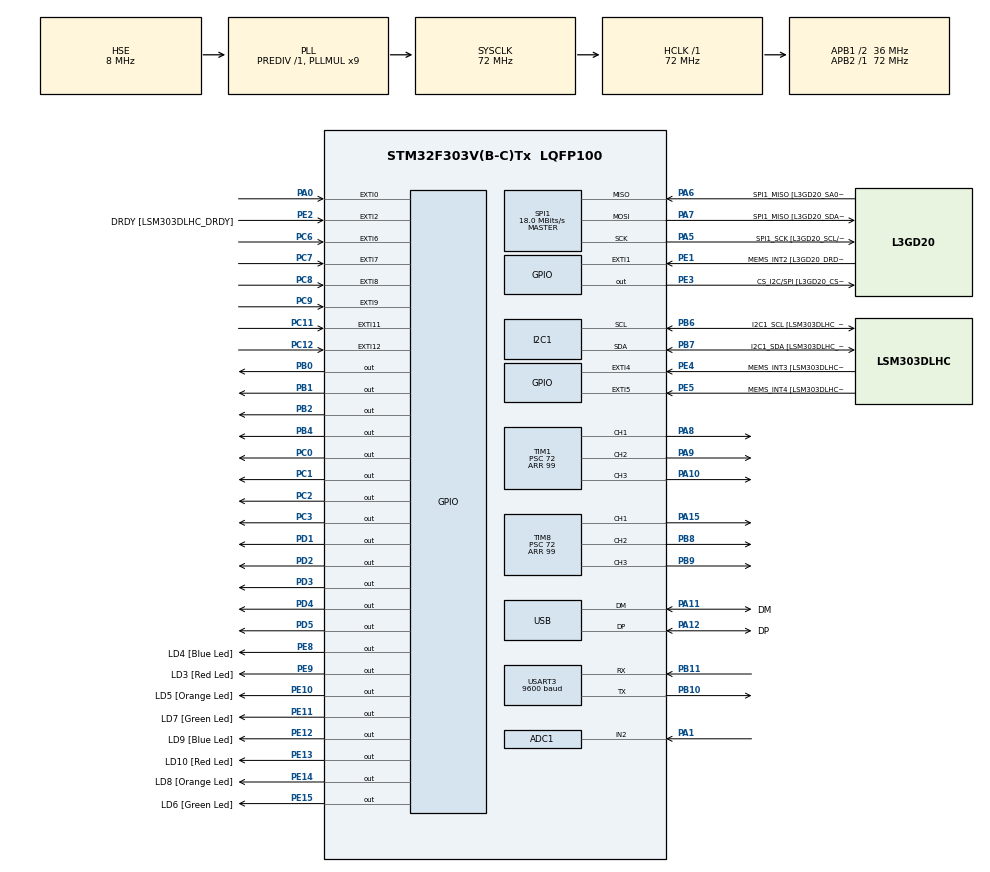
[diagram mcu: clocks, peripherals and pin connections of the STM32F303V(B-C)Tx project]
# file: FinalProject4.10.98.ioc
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ADC1.Channel-0\#ChannelRegularConversion=ADC_CHANNEL_2
ADC1.ClockPrescaler=ADC_CLOCK_ASYNC_DIV1
ADC1.ContinuousConvMode=DISABLE
ADC1.DMAContinuousRequests=DISABLE
ADC1.DataAlign=ADC_DATAALIGN_RIGHT
ADC1.DiscontinuousConvMode=DISABLE
ADC1.EOCSelection=ADC_EOC_SINGLE_CONV
ADC1.EnableAnalogWatchDog1=false
ADC1.EnableAnalogWatchDog2=false
ADC1.EnableAnalogWatchDog3=false
ADC1.EnableInjectedConversion=ENABLE
ADC1.EnableRegularConversion=ENABLE
ADC1.ExternalTrigConv=ADC_SOFTWARE_START
ADC1.ExternalTrigConvEdge=ADC_EXTERNALTRIGCONVEDGE_NONE
ADC1.InjNumberOfConversion=0
ADC1.LowPowerAutoWait=DISABLE
ADC1.NbrOfConversion=1
ADC1.NbrOfConversionFlag=1
ADC1.Offset-0\#ChannelRegularConversion=0
ADC1.OffsetNumber-0\#ChannelRegularConversion=ADC_OFFSET_NONE
ADC1.Overrun=ADC_OVR_DATA_OVERWRITTEN
ADC1.Rank-0\#ChannelRegularConversion=1
ADC1.Resolution=ADC_RESOLUTION_6B
ADC1.SamplingTime-0\#ChannelRegularConversion=ADC_SAMPLETIME_601CYCLES_5
ADC1.ScanConvMode=ADC_SCAN_DISABLE
ADC1.master=1
I2C1.Timing-I2C=0x2000090E
Mcu.Family=STM32F3
Mcu.Name=STM32F303V(B-C)Tx
Mcu.Package=LQFP100
NVIC.ADC1_2_IRQn=true\:3\:0\:true\:false\:true\:true
NVIC.EXTI0_IRQn=true\:1\:0\:true\:false\:true\:true
NVIC.EXTI15_10_IRQn=true\:1\:0\:true\:false\:true\:true
NVIC.EXTI9_5_IRQn=true\:1\:0\:true\:false\:true\:true
NVIC.PriorityGroup=NVIC_PRIORITYGROUP_2
NVIC.TIM2_IRQn=true\:2\:0\:true\:false\:true\:true
NVIC.TIM3_IRQn=true\:2\:0\:true\:false\:true\:true
NVIC.USART3_IRQn=true\:2\:0\:true\:false\:true\:true
PA0.GPIO_PuPd=GPIO_PULLDOWN
PA0.Signal=GPXTI0
PA1.Mode=IN2-Single-Ended
PA1.Signal=ADC1_IN2
PA10.Signal=S_TIM1_CH3
PA11.GPIO_Label=DM
PA11.Mode=Device
PA11.Signal=USB_DM
PA12.GPIO_Label=DP
PA12.Mode=Device
PA12.Signal=USB_DP
PA13.GPIO_Label=SWDIO
PA13.Mode=Serial_Wire
PA13.Signal=SYS_JTMS-SWDIO
PA14.GPIO_Label=SWCLK
PA14.Mode=Serial_Wire
PA14.Signal=SYS_JTCK-SWCLK
PA15.Signal=S_TIM8_CH1
PA5.GPIO_Label=SPI1_SCK [L3GD20_SCL/SPC]
PA5.Mode=Full_Duplex_Master
PA5.Signal=SPI1_SCK
PA6.GPIO_Label=SPI1_MISO [L3GD20_SA0/SDO]
PA6.Mode=Full_Duplex_Master
PA6.Signal=SPI1_MISO
PA7.GPIO_Label=SPI1_MISO [L3GD20_SDA/SDI/SDO]
PA7.Mode=Full_Duplex_Master
PA7.Signal=SPI1_MOSI
PA8.Signal=S_TIM1_CH1
PA9.Signal=S_TIM1_CH2
PB0.Signal=GPIO_Output
PB1.Signal=GPIO_Output
PB10.Mode=Asynchronous
PB10.Signal=USART3_TX
PB11.Mode=Asynchronous
PB11.Signal=USART3_RX
PB2.Signal=GPIO_Output
PB3.GPIO_Label=SWO
PB3.Signal=SYS_JTDO-TRACESWO
PB4.Signal=GPIO_Output
PB6.GPIO_Label=I2C1_SCL [LSM303DLHC_SCL]
PB6.Mode=I2C
PB6.Signal=I2C1_SCL
PB7.GPIO_Label=I2C1_SDA [LSM303DLHC_SDA]
PB7.Mode=I2C
PB7.Signal=I2C1_SDA
PB8.Signal=S_TIM8_CH2
PB9.Signal=S_TIM8_CH3
PC0.Signal=GPIO_Output
PC1.Signal=GPIO_Output
PC11.GPIO_PuPd=GPIO_PULLDOWN
PC11.Signal=GPXTI11
PC12.GPIO_PuPd=GPIO_PULLDOWN
PC12.Signal=GPXTI12
PC14-OSC32_IN.GPIO_Label=OSC32_IN
PC14-OSC32_IN.Signal=RCC_OSC32_IN
PC15-OSC32_OUT.GPIO_Label=OSC32_OUT
PC15-OSC32_OUT.Signal=RCC_OSC32_OUT
PC2.Signal=GPIO_Output
PC3.Signal=GPIO_Output
PC6.GPIO_PuPd=GPIO_PULLDOWN
PC6.Signal=GPXTI6
PC7.GPIO_PuPd=GPIO_PULLDOWN
PC7.Signal=GPXTI7
PC8.GPIO_PuPd=GPIO_PULLDOWN
PC8.Signal=GPXTI8
PC9.GPIO_PuPd=GPIO_PULLDOWN
PC9.Signal=GPXTI9
PD1.Signal=GPIO_Output
PD2.Signal=GPIO_Output
PD3.Signal=GPIO_Output
PD4.Signal=GPIO_Output
PD5.Signal=GPIO_Output
PE1.GPIO_Label=MEMS_INT2 [L3GD20_DRDY/INT2]
PE1.GPIO_ModeDefaultEXTI=GPIO_MODE_EVT_RISING
PE1.Signal=GPXTI1
PE10.GPIO_Label=LD5 [Orange Led]
PE10.Signal=GPIO_Output
PE11.GPIO_Label=LD7 [Green Led]
PE11.Signal=GPIO_Output
PE12.GPIO_Label=LD9 [Blue Led]
PE12.Signal=GPIO_Output
PE13.GPIO_Label=LD10 [Red Led]
PE13.Signal=GPIO_Output
PE14.GPIO_Label=LD8 [Orange Led]
PE14.Signal=GPIO_Output
PE15.GPIO_Label=LD6 [Green Led]
PE15.Signal=GPIO_Output
PE2.GPIO_Label=DRDY [LSM303DLHC_DRDY]
PE2.GPIO_ModeDefaultEXTI=GPIO_MODE_EVT_RISING
PE2.Signal=GPXTI2
PE3.GPIO_Label=CS_I2C/SPI [L3GD20_CS_I2C/SPI]
PE3.Signal=GPIO_Output
PE4.GPIO_Label=MEMS_INT3 [LSM303DLHC_INT1]
PE4.GPIO_ModeDefaultEXTI=GPIO_MODE_EVT_RISING
PE4.Signal=GPXTI4
PE5.GPIO_Label=MEMS_INT4 [LSM303DLHC_INT2]
PE5.GPIO_ModeDefaultEXTI=GPIO_MODE_EVT_RISING
PE5.Signal=GPXTI5
PE8.GPIO_Label=LD4 [Blue Led]
PE8.Signal=GPIO_Output
PE9.GPIO_Label=LD3 [Red Led]
PE9.Signal=GPIO_Output
PF0-OSC_IN.GPIO_Label=OSC_IN
PF0-OSC_IN.Mode=HSE-External-Clock-Source
PF0-OSC_IN.Signal=RCC_OSC_IN
PF1-OSC_OUT.GPIO_Label=OSC_OUT
PF1-OSC_OUT.Signal=RCC_OSC_OUT
ProjectManager.HeapSize=0x200
ProjectManager.StackSize=0x400
ProjectManager.TargetToolchain=MDK-ARM V5
RCC.AHBFreq_Value=72000000
RCC.APB1CLKDivider=RCC_HCLK_DIV2
RCC.APB1Freq_Value=36000000
RCC.APB1TimFreq_Value=72000000
RCC.APB2Freq_Value=72000000
RCC.APB2TimFreq_Value=72000000
RCC.CortexFreq_Value=72000000
RCC.HCLKFreq_Value=72000000
RCC.HSE_VALUE=8000000
RCC.HSI_VALUE=8000000
RCC.LSE_VALUE=32768
RCC.PLLMUL=RCC_PLL_MUL9
RCC.PRESCALERUSB=RCC_USBCLKSOURCE_PLL_DIV1_5
RCC.SYSCLKFreq_VALUE=72000000
RCC.SYSCLKSourceVirtual=RCC_SYSCLKSOURCE_PLLCLK
RCC.USBFreq_Value=48000000
SH.S_TIM1_CH1.0=TIM1_CH1,PWM Generation1 CH1
SH.S_TIM1_CH2.0=TIM1_CH2,PWM Generation2 CH2
SH.S_TIM1_CH3.0=TIM1_CH3,PWM Generation3 CH3
SH.S_TIM8_CH1.0=TIM8_CH1,PWM Generation1 CH1
SH.S_TIM8_CH2.0=TIM8_CH2,PWM Generation2 CH2
SH.S_TIM8_CH3.0=TIM8_CH3,PWM Generation3 CH3
SPI1.BaudRatePrescaler=SPI_BAUDRATEPRESCALER_4
SPI1.BaudRatePrescaler-Full_Duplex_Master=SPI_BAUDRATEPRESCALER_2
SPI1.CalculateBaudRate=18.0 MBits/s
SPI1.CalculateBaudRate-Full_Duplex_Master=24.0 MBits/s
SPI1.Direction=SPI_DIRECTION_2LINES
SPI1.Mode=SPI_MODE_MASTER
SPI1.Mode-Full_Duplex_Master=SPI_MODE_MASTER
SPI1.VirtualType=VM_MASTER
TIM1.Channel-PWM\ Generation1\ CH1=TIM_CHANNEL_1
TIM1.Channel-PWM\ Generation2\ CH2=TIM_CHANNEL_2
TIM1.Channel-PWM\ Generation3\ CH3=TIM_CHANNEL_3
TIM1.Period=99
TIM1.Prescaler=72
TIM2.Period=600
TIM2.Prescaler=60
TIM3.Period=1200
TIM3.Prescaler=1200
TIM8.Channel-PWM\ Generation1\ CH1=TIM_CHANNEL_1
TIM8.Channel-PWM\ Generation2\ CH2=TIM_CHANNEL_2
TIM8.Channel-PWM\ Generation3\ CH3=TIM_CHANNEL_3
TIM8.Period=99
TIM8.Prescaler=72
USART3.BaudRate=9600
USART3.VirtualMode-Asynchronous=VM_ASYNC
VP_TIM1_VS_ClockSourceINT.Mode=Internal
VP_TIM2_VS_ClockSourceINT.Mode=Internal
VP_TIM3_VS_ClockSourceINT.Mode=Internal
VP_TIM8_VS_ClockSourceINT.Mode=Internal
board=STM32F3DISCOVERY

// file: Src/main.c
/**
  ******************************************************************************
  * @file           : main.c
  * @brief          : Main program body
  ******************************************************************************
  ** This notice applies to any and all portions of this file
  * that are not between comment pairs USER CODE BEGIN and
  * USER CODE END. Other portions of this file, whether
  * inserted by the user or by software development tools
  * are owned by their respective copyright owners.
  *
  * COPYRIGHT(c) 2020 STMicroelectronics
  *
  * Redistribution and use in source and binary forms, with or without modification,
  * are permitted provided that the following conditions are met:
  *   1. Redistributions of source code must retain the above copyright notice,
  *      this list of conditions and the following disclaimer.
  *   2. Redistributions in binary form must reproduce the above copyright notice,
  *      this list of conditions and the following disclaimer in the documentation
  *      and/or other materials provided with the distribution.
  *   3. Neither the name of STMicroelectronics nor the names of its contributors
  *      may be used to endorse or promote products derived from this software
  *      without specific prior written permission.
  *
  * THIS SOFTWARE IS PROVIDED BY THE COPYRIGHT HOLDERS AND CONTRIBUTORS "AS IS"
  * AND ANY EXPRESS OR IMPLIED WARRANTIES, INCLUDING, BUT NOT LIMITED TO, THE
  * IMPLIED WARRANTIES OF MERCHANTABILITY AND FITNESS FOR A PARTICULAR PURPOSE ARE
  * DISCLAIMED. IN NO EVENT SHALL THE COPYRIGHT HOLDER OR CONTRIBUTORS BE LIABLE
  * FOR ANY DIRECT, INDIRECT, INCIDENTAL, SPECIAL, EXEMPLARY, OR CONSEQUENTIAL
  * DAMAGES (INCLUDING, BUT NOT LIMITED TO, PROCUREMENT OF SUBSTITUTE GOODS OR
  * SERVICES; LOSS OF USE, DATA, OR PROFITS; OR BUSINESS INTERRUPTION) HOWEVER
  * CAUSED AND ON ANY THEORY OF LIABILITY, WHETHER IN CONTRACT, STRICT LIABILITY,
  * OR TORT (INCLUDING NEGLIGENCE OR OTHERWISE) ARISING IN ANY WAY OUT OF THE USE
  * OF THIS SOFTWARE, EVEN IF ADVISED OF THE POSSIBILITY OF SUCH DAMAGE.
  *
  ******************************************************************************
  */
#include "main.h"
#include "stm32f3xx_hal.h"

/* USER CODE BEGIN Includes */
#include "LiquidCrystal.h"
#include "stdlib.h"
#include "stdio.h"
#include <string.h>
/* USER CODE END Includes */

ADC_HandleTypeDef hadc1;

I2C_HandleTypeDef hi2c1;

SPI_HandleTypeDef hspi1;

TIM_HandleTypeDef htim1;
TIM_HandleTypeDef htim2;
TIM_HandleTypeDef htim3;
TIM_HandleTypeDef htim8;

UART_HandleTypeDef huart3;

PCD_HandleTypeDef hpcd_USB_FS;

/* USER CODE BEGIN PV */
/* Private variables ---------------------------------------------------------*/
	typedef unsigned char byte;
//	/////////////////////////////////////////////
	byte airplanes[] = {
	0x00,
	0x00,
	0x04,
	0x12,
	0x0F,
	0x12,
	0x04,
	0x00
};
	byte barrier11[] = {
	0x00,
	0x00,
	0x1F,
	0x11,
	0x1F,
	0x11,
	0x1F,
	0x00
};
	byte barrier22[] = {
	0x00,
	0x00,
	0x1F,
	0x1F,
	0x1F,
	0x1F,
	0x1F,
	0x00
};
	byte fuel_source[] = {
	0x00,
	0x04,
	0x0A,
	0x15,
	0x0A,
	0x04,
	0x00,
	0x00
};

//	byte filled[] = {
//	0x1F,
//	0x1F,
//	0x1F,
//	0x1F,
//	0x1F,
//	0x1F,
//	0x1F,
//	0x1F
//};
//
//	byte down_square[] = {
//	0x00,
//	0x00,
//	0x00,
//	0x00,
//	0x1F,
//	0x1F,
//	0x1F,
//	0x1F
//};
//
//	byte up_square [] = {
//	0x1F,
//	0x1F,
//	0x1F,
//	0x1F,
//	0x00,
//	0x00,
//	0x00,
//	0x00
//	};
//
//	byte trapeze[] = {
//	0x01,
//	0x03,
//	0x07,
//	0x0F,
//	0x1F,
//	0x1F,
//	0x1F,
//	0x1F};

	int adc_counter = 0;
	int speedSum = 0;

//	byte up[] = {0x00,0x00,0x04,0x0A,0x11,0x00,0x00,0x00};//z add
//	byte down[] = {0x00,0x00,0x11,0x0A,0x04,0x00,0x00,0x00};//z add
	/////////////////////////////////////////////
	byte selected[]= {0x00,0x00,0x04,0x02,0x1F,0x02,0x04,0x00}; //selected & bonus

	////////////////////////////////////////////////////////////////////////////////important
	char idchar;
	int test=0;
	int flagID=0;
	char idstr[20]="";
	int idcurser=5;
	int step=0;
	int speed=60;
	int needClear=0;
	int map[20][4] = {0}; //"0" shows empty, "1, 2, 3" shows a barrier,
	//and "-1, -2, -3, -4" shoes an enenmy, "-5" for cursor, "10" for bonus

	int option; // "0" for NEW GAME, "1" for LOAD GAME, "2" for ABOUT

	int mode; //"-1" for Showing "Alien Fighters", "0" for Showing MENU, "1" for before starting GAME,
	//"2" during the GAME, and "3" About, "4" for game over, "5" for winner , "6" load game,"7" store game

	char strvol[20];
	int time_counter = 0;
	int time = 0;

	int direction = -1;

	typedef struct barrierrs {
	int timeToBirth;
  int type;
	int x, y;
	int isExist;
} barriers;

	typedef struct airplane{
  int fuel;
  int planeSpeed;
	int x, y;
	int accident;
} airplane;

	typedef struct source_fuel{
  int value;
	int x, y;
	int timeTobBirth;
	int isExist;
} source_fuel;

	int barriers1[5]={8,6,4,2,0} ;
	int barriers2[5]={0,2,4,6,8};
	int source_fuel_num[5] = {5,3,2,1,0};
	airplane plane1;

	barriers brr[5][8];
	source_fuel fuel;

	int num_step=8;
	int  total_step=5;
	int counterMode2=0;
	int length=20;
	int score = 0;

	int max_speed_step[]={90,200,300,400,500};
	int max_time_step[]={100,80,60,40,20};	///using in calculate speed

	////////////////////////////////////////////////////////////////////////////////
  ///////////////////////////OUR METHODS/////////////////////////////////////////
//	void effects(){
//		clear();
//		for(int i=0;i<20;i++){
//			for(int j=0;j<4;j++){
//			setCursor(i,j);
//			write(7);
//			}
//		}
//		HAL_Delay(1500);
//		for(int i=6;i<12;i++){
//			for(int j=0;j<4;j++){
//			setCursor(i,j);
//			 print(" ");
//				if((i==7 || i==11) && (j==0 || j==3)){
//					setCursor(i,j);
//					write(7);
//				}
//			}
//		}
//		HAL_Delay(1500);
//		for(int i=1;i<17;i++){
//			for(int j=0;j<4;j++){
//			setCursor(i,j);
//			 print(" ");
//				if((i==1 || i==17) && (j==0 || j==3)){
//					setCursor(i,j);
//					write(7);
//				}
//			}
//		}
//		HAL_Delay(1500);
//		clear();
//		//3
//		for(int i=8;i<12;i++){
//			for(int j=0;j<4;j++){
//			setCursor(i,j);
//			 print(" ");
//				if((j==0 || j==3)){
//					setCursor(i,j);
//					write(7);
//				}
//				else if(j==1){
//					setCursor(i,j);
//					write(8);
//				}
//				else {
//					setCursor(i,j);
//					write(9);
//				}
//			}
//		}
//		setCursor(13,1);
//		write(7);
//		setCursor(13,2);
//		write(7);
//		//3
//		HAL_Delay(1500);
//		clear();
//		//2
//		for(int i=8;i<10;i++){
//			for(int j=0;j<4;j++){
//			setCursor(i,j);
//			 print(" ");
//				if((j==0 || j==3)){
//					setCursor(i,j);
//					write(7);
//				}
//				else if(j==1){
//					setCursor(i,j);
//					write(8);
//				}
//				else {
//					setCursor(i,j);
//					write(9);
//				}
//			}
//		}
//		setCursor(7,3);
//		write(7);
//		setCursor(11,3);
//		write(8);
//		setCursor(11,0);
//		write(7);
//		setCursor(7,0);
//		write(9);
//		setCursor(7,1);
//		write(7);
//		setCursor(11,2);
//		write(7);
//		//2
//		HAL_Delay(1500);
//		//1
//		clear();
//		setCursor(8,0);
//		write(6);
//		setCursor(9,0);
//		write(7);
//		setCursor(9,1);
//		write(7);
//		setCursor(9,2);
//		write(7);
//		setCursor(9,3);
//		write(7);
//		setCursor(7,3);
//		write(7);
//		setCursor(8,3);
//		write(7);
//		setCursor(10,3);
//		write(7);
//		setCursor(11,3);
//		write(7);
//		//1
//		HAL_Delay(1500);
//		clear();
//	}

	void new_barrier(barriers b){
		//check if there is another item in that position via map
			setCursor(b.y,b.x);
			write(2);
	}

	int calculateSpeed(int volume,int step){
			int speed=volume*(max_speed_step[step]/63);

	}
		int calculateTime(int speed){
			int time=max_time_step[step]*(max_speed_step[step]/speed);

	}

	void move(barriers b){
		int x = b.x;
		int y = b.y;

		if(y-1==0) {
			b.isExist = 0;
			setCursor(y,x);
			print(" ");
			map[y][x] = 0;
		}
		else if(y-1 == plane1.y && x==plane1.x){
			if(b.type==1){
				speed -= 10;
				plane1.fuel -= 10;
			}
			else {
					plane1.accident = 1;
			}
		}

		else if(map[y-1][x] == 0) {
			setCursor(y,x);
			print(" ");
			setCursor(y-1,x);
			write(b.type);
			b.y= y-1;
			b.x=x;
			map[y][x] = 0;
			map[y-1][x] = -1 * (b.type);
		}
	else{
		for(int i=0;i<total_step;i++){
			for(int j=0;j<num_step;j++){
				if(brr[i][j].isExist && y-1 == brr[i][j].y){
					 break;
				}
			}
		}
	}

	}

	void GameInit(){
		HAL_Delay(100);
		  clear();
		  HAL_Delay(100);
		  step = 0;
			plane1.fuel=100;
			plane1.x=rand()%4;
		  plane1.y=0;
		  plane1.accident=0;
		  map[plane1.y][plane1.x] = 1;
		for(int i=0;i<total_step;i++){
			for(int j=0;j<num_step;j++){
				brr[i][j].isExist = 1;
			}
		}
			setCursor(plane1.y,plane1.x);
			//print("*");
	    write(3);
		  mode=1;
	}

	int isHereBarrier(int y,int x){
		for(int i=0;i<8;i++){
			if(brr[step][i].x == x && brr[step][i].y== y) {
				return i;
			}
		}
		return -1;
	}

	void crash(airplane p){
		if(map[p.y][p.x] == -1){
			p.fuel -=10;
			speed -= 10;
			if(isHereBarrier(p.y , p.x)!=-1) {brr[step][isHereBarrier(p.y , p.x)].isExist = 0;}
		}
		if(map[p.y][p.x] == -2){
			p.accident = 1;
			if(isHereBarrier(p.y , p.x)!=-1) {brr[step][isHereBarrier(p.y , p.x)].isExist = 0;}
		}
		if(map[p.y][p.x] == 2) {
			p.fuel += 10;
			fuel.isExist = 0;
		}
	}

	void moveAP(int dir){
		switch(dir){
			case 0:{ //up
				if(plane1.y <=18){
				map[plane1.y][plane1.x] = 0;
				setCursor(plane1.y , plane1.x);
				print(" ");
				plane1.y = plane1.y + 1;
				crash(plane1);
				map[plane1.y][plane1.x] = 1;
				setCursor(plane1.y , plane1.x);
				write(3);
				}
				break;
			}
			case 1:{ //down
				if(plane1.y >=1){
				map[plane1.y][plane1.x] = 0;
				setCursor(plane1.y , plane1.x);
				print(" ");
				plane1.y = plane1.y - 1;
				crash(plane1);
				map[plane1.y][plane1.x] = 1;
				setCursor(plane1.y , plane1.x);
				write(3);
				}
				break;
			}
			case 2:{ //right
				if(plane1.x <=2){
					map[plane1.y][plane1.x] = 0;
				setCursor(plane1.y , plane1.x);
				print(" ");
				  plane1.x = plane1.x + 1;
					crash(plane1);
					map[plane1.y][plane1.x] = 1;
				setCursor(plane1.y , plane1.x);
				write(3);
				}
				break;
			}
			case 3:{ //left
				if(plane1.x >= 1 ){
					map[plane1.y][plane1.x] = 0;
				setCursor(plane1.y , plane1.x);
				print(" ");
				  plane1.x = plane1.x - 1;
					crash(plane1);
					map[plane1.y][plane1.x] = 1;
				setCursor(plane1.y , plane1.x);
				write(3);
				}
				break;
			}
			default: {break;} //direction = -1
		}
	}

	double averageSpeed(){
		return speedSum/adc_counter;
	}

		////////////////////////////////////////////////////////////////////////////////

//	int chance;
//	int counter_001second;
//	int counter_1second;
//
//	typedef struct enemyy {
//  int type;
//  int health;
//	int x, y;
//	int timeToBirth;
//	int isExist;
//} enemy;
//
//	int enemy_energy[4]= {1, 2, 3, 4};
//	int max_enemy[8] = {4, 6, 8, 10, 12, 14, 16, 18};
//	int numOfCurrentEnemy;
//	enemy enemies[5];
//	int enemies1[8]= {4, 3, 3, 3, 2, 1, 0, 0};
//	int enemies2[8]= {0, 3, 5, 5, 4, 4, 4, 4};
//	int enemies3[8]= {0, 0, 0, 2, 5, 7, 8, 6};
//	int enemies4[8]= {0, 0, 0, 0, 1, 2, 4, 10};
//	int enemies_onStep;
//	int numOfCurrentEnemy1;
//	int numOfCurrentEnemy2;
//	int numOfCurrentEnemy3;
//	int numOfCurrentEnemy4;

//	typedef struct barrierr {
//  int type;
//  int health;
//	int x, y;
//	int isExist;
//} barrier;

  int barrier_energy[3]= {1, 2, 3};
	int remain_time_toCraete_barrier[3]= {0, 0, 0};
	//barrier barriers[20][4];
	int numOfBarrierBeforeStart;

	int cx=3;
	int cy=2;
	int pre_cx;
	int pre_cy;

	int s_rand=0;
	int random;

	int last_lost_chance;

	int remain_time_toDisappear;
	int bonus_TP;//type
	int bonus_x;
	int bonus_y;

	int ldr;
/* USER CODE END PV */

void SystemClock_Config(void);
static void MX_GPIO_Init(void);
static void MX_I2C1_Init(void);
static void MX_SPI1_Init(void);
static void MX_USB_PCD_Init(void);
static void MX_ADC1_Init(void);
static void MX_TIM1_Init(void);
static void MX_TIM8_Init(void);
static void MX_TIM3_Init(void);
static void MX_TIM2_Init(void);
static void MX_USART3_UART_Init(void);

void HAL_TIM_MspPostInit(TIM_HandleTypeDef *htim);

/* USER CODE BEGIN PFP */
/* Private function prototypes -----------------------------------------------*/

/* USER CODE END PFP */

/* USER CODE BEGIN 0 */

//enables one of 4
void enableSegment(int x){

			if(x==0){ //7-seg is off
							HAL_GPIO_WritePin(GPIOD, GPIO_PIN_4, 0);
							HAL_GPIO_WritePin(GPIOD, GPIO_PIN_3, 0);
							HAL_GPIO_WritePin(GPIOD, GPIO_PIN_2, 0);
							HAL_GPIO_WritePin(GPIOD, GPIO_PIN_1, 0);}

	else if(x==1){ //7-seg first port

							HAL_GPIO_WritePin(GPIOD, GPIO_PIN_4, 1);
							HAL_GPIO_WritePin(GPIOD, GPIO_PIN_3, 0);
							HAL_GPIO_WritePin(GPIOD, GPIO_PIN_2, 0);
							HAL_GPIO_WritePin(GPIOD, GPIO_PIN_1, 0);}

	else if (x==2){

							HAL_GPIO_WritePin(GPIOD, GPIO_PIN_4, 0);
							HAL_GPIO_WritePin(GPIOD, GPIO_PIN_3,1);
							HAL_GPIO_WritePin(GPIOD, GPIO_PIN_2, 0);
							HAL_GPIO_WritePin(GPIOD, GPIO_PIN_1, 0);}

	else if (x==3){

							HAL_GPIO_WritePin(GPIOD, GPIO_PIN_4, 0);
							HAL_GPIO_WritePin(GPIOD, GPIO_PIN_3, 0);
							HAL_GPIO_WritePin(GPIOD, GPIO_PIN_2, 1);
							HAL_GPIO_WritePin(GPIOD, GPIO_PIN_1, 0);}

	else {

							HAL_GPIO_WritePin(GPIOD, GPIO_PIN_4, 0);
							HAL_GPIO_WritePin(GPIOD, GPIO_PIN_3, 0);
							HAL_GPIO_WritePin(GPIOD, GPIO_PIN_2, 0);
							HAL_GPIO_WritePin(GPIOD, GPIO_PIN_1, 1);}

}

//enable digits on ic
void print1Digit(int y){

	if (y==0){

						HAL_GPIO_WritePin(GPIOB, GPIO_PIN_4, 0);
						HAL_GPIO_WritePin(GPIOB, GPIO_PIN_2, 0);
						HAL_GPIO_WritePin(GPIOB, GPIO_PIN_1, 0);
						HAL_GPIO_WritePin(GPIOB, GPIO_PIN_0, 0);	}

	else if (y==1){

						HAL_GPIO_WritePin(GPIOB, GPIO_PIN_4, 0);
						HAL_GPIO_WritePin(GPIOB, GPIO_PIN_2, 0);
						HAL_GPIO_WritePin(GPIOB, GPIO_PIN_1, 0);
						HAL_GPIO_WritePin(GPIOB, GPIO_PIN_0, 1);	}

	else if (y==2){

						HAL_GPIO_WritePin(GPIOB, GPIO_PIN_4,0);
						HAL_GPIO_WritePin(GPIOB, GPIO_PIN_2, 0);
						HAL_GPIO_WritePin(GPIOB, GPIO_PIN_1, 1);
						HAL_GPIO_WritePin(GPIOB, GPIO_PIN_0, 0);	}

	else if (y==3){

						HAL_GPIO_WritePin(GPIOB, GPIO_PIN_4, 0);
						HAL_GPIO_WritePin(GPIOB, GPIO_PIN_2, 0);
						HAL_GPIO_WritePin(GPIOB, GPIO_PIN_1, 1);
						HAL_GPIO_WritePin(GPIOB, GPIO_PIN_0, 1);	}

	else if (y==4){

						HAL_GPIO_WritePin(GPIOB, GPIO_PIN_4, 0);
						HAL_GPIO_WritePin(GPIOB, GPIO_PIN_2, 1);
						HAL_GPIO_WritePin(GPIOB, GPIO_PIN_1, 0);
						HAL_GPIO_WritePin(GPIOB, GPIO_PIN_0, 0);	}

	else if (y==5){

						HAL_GPIO_WritePin(GPIOB, GPIO_PIN_4, 0);
						HAL_GPIO_WritePin(GPIOB, GPIO_PIN_2, 1);
						HAL_GPIO_WritePin(GPIOB, GPIO_PIN_1, 0);
						HAL_GPIO_WritePin(GPIOB, GPIO_PIN_0, 1);	}

	else if (y==6){

						HAL_GPIO_WritePin(GPIOB, GPIO_PIN_4, 0);
						HAL_GPIO_WritePin(GPIOB, GPIO_PIN_2, 1);
						HAL_GPIO_WritePin(GPIOB, GPIO_PIN_1, 1);
						HAL_GPIO_WritePin(GPIOB, GPIO_PIN_0, 0);	}

  else if (y==7){

						HAL_GPIO_WritePin(GPIOB, GPIO_PIN_4, 0);
						HAL_GPIO_WritePin(GPIOB, GPIO_PIN_2, 1);
						HAL_GPIO_WritePin(GPIOB, GPIO_PIN_1, 1);
						HAL_GPIO_WritePin(GPIOB, GPIO_PIN_0, 1);	}

  else if (y==8){

						HAL_GPIO_WritePin(GPIOB, GPIO_PIN_4, 1);
						HAL_GPIO_WritePin(GPIOB, GPIO_PIN_2, 0);
						HAL_GPIO_WritePin(GPIOB, GPIO_PIN_1, 0);
						HAL_GPIO_WritePin(GPIOB, GPIO_PIN_0, 0);   }

	else if (y==9){

						HAL_GPIO_WritePin(GPIOB, GPIO_PIN_4, 1);
						HAL_GPIO_WritePin(GPIOB, GPIO_PIN_2, 0);
						HAL_GPIO_WritePin(GPIOB, GPIO_PIN_1, 0);
						HAL_GPIO_WritePin(GPIOB, GPIO_PIN_0, 1);	}

}

//shows stages and speed/ blinking at the first of starting the program
void print4digit(int y, int x){

	int x1= x%10;
	int x2= ((x - x1)/10)%10;
	int x3= ((x-(x2*10)-x1)/100)%10;

	int x4= y;

	enableSegment(4);
	HAL_GPIO_WritePin(GPIOD, GPIO_PIN_5, 0);
	print1Digit(x4);
	HAL_Delay(1);

	enableSegment(3);
	HAL_GPIO_WritePin(GPIOD, GPIO_PIN_5, 1);
	print1Digit(x3);
	HAL_Delay(1);

	enableSegment(2);
	print1Digit(x2);
	HAL_Delay(1);

	enableSegment(1);
	print1Digit(x1);
	HAL_Delay(1);

}

void HAL_GPIO_EXTI_Callback(uint16_t GPIO_PIN){

//	if(GPIO_PIN== GPIO_PIN_11 && mode==0){
//		if(option>0)option--;//z add
//	}

	if(GPIO_PIN== GPIO_PIN_11){
		if(mode==0){if(option>0)option--;}//z add
		else if(mode==2) {//z add
			    mode=7;
			    clear();
					setCursor(3, 1);
					print("Enter your name:");
		}
	}
	//z add
	else if(GPIO_PIN== GPIO_PIN_12 ){
			if(mode==0){if(option<2)option++;}
			else if(mode==7){
				/////*related to uart*//////
				needClear=1;
				unsigned char data[100]="hi";
				char plane1X[10];
				sprintf(plane1X,"%d",plane1.x);
//				strncat(data,&plane1X,10);
				char plane1Y[10];
				sprintf(plane1Y,"%d",plane1.y);
				char plane1Fuel[10];
				sprintf(plane1Fuel,"%d",plane1.fuel);
				char plane1Speed[10];
				sprintf(plane1Speed,"%d",plane1.planeSpeed);
				char gameStep[5];
				sprintf(gameStep,"%d",step);
				char gameScore[5];
				sprintf(gameScore,"%d",score);
				sprintf(data," %s %s %s %s %s %s",plane1X,plane1Y,plane1Fuel,plane1Speed,gameStep,gameScore);
				//strncat(idstr, &idchar, 1);
				HAL_UART_Transmit(&huart3,data,sizeof data,1000);
				mode=2;
			}

	}
	//z add
	else if(GPIO_PIN== GPIO_PIN_0){
		if(mode==0){
			///for going to new game//z add
			if(option==0){ needClear=1; GameInit();}
			///for going to load game//z add
			else if(option==1){needClear=1;mode=6;/*here I shoud add sth related to uart*/}
			///for going to about//z add
			else if(option==2){needClear=1;mode=3;}
		}
		else if(mode==-1){needClear=1; mode=0;}
	}
	//z add
	else if(GPIO_PIN== GPIO_PIN_6){
		if(mode==7){
		  idchar='1';
		  setCursor(idcurser,3);
			 strncat(idstr, &idchar, 1);
		   print(idstr);

	}
		else if(mode==2){direction=0;moveAP(direction);direction=-1;}
	}
	else if(GPIO_PIN== GPIO_PIN_7){
		if(mode==7){
		   idchar='2';
		   setCursor(idcurser,3);
			 strncat(idstr, &idchar, 1);
		   print(idstr);
	}
		else if(mode==2){direction=1;moveAP(direction);direction=-1;}
}
	else if(GPIO_PIN== GPIO_PIN_8){
		if(mode==7){
		  idchar='3';
		  setCursor(idcurser,3);
			 strncat(idstr, &idchar, 1);
		   print(idstr);

	}
		else if(mode==2){direction=2;moveAP(direction);direction=-1;}
	}
	else if(GPIO_PIN== GPIO_PIN_9){
		if(mode==7 ){
		  idchar='4';
		  setCursor(idcurser,3);
			strncat(idstr, &idchar, 1);
		  print(idstr);
	}
		else if(mode==2){direction=3;moveAP(direction);direction=-1;}

}

}

void HAL_ADC_ConvCpltCallback(ADC_HandleTypeDef* hadc){
	if(hadc->Instance==ADC1){
	  int volume =HAL_ADC_GetValue(&hadc1);
		speed = calculateSpeed(volume , step);
		speedSum += speed;
		adc_counter++;
		time = calculateTime(speed);
//		char strvol[20];
//		setCursor(2,2);
//		print("volume");
//		//if we had if block
//	  setCursor(10,2);
//	  sprintf(strvol,"%3d",(speed/10));
//	  print(strvol);
	HAL_ADC_Start_IT(&hadc1);
	}
}

void HAL_UART_RxCpltCallback(UART_HandleTypeDef*huart){
//	if(huart->Instance==USART3){
//			HAL_UART_Receive_IT(&huart3,str,sizeof(str));
//}
}

void HAL_TIM_PeriodElapsedCallback(TIM_HandleTypeDef *htim){
	if(htim->Instance ==TIM3){
				s_rand++;
			  if(mode==0){
				enableSegment(0);
				if(needClear==1){
				clear();
				needClear=0;}

				setCursor(5, 0);
				print("New  Game");
				setCursor(5, 1);
				print("Load Game");
				setCursor(5, 2);
				print("About");

					if(option==0)
					{ setCursor(4, 1); print(" ");
						setCursor(4, 2); print(" ");
						setCursor(4, 0); write(5);}
					else if(option==1)
					{setCursor( 4, 0); print(" ");
						setCursor(4, 2); print(" ");
						setCursor(4, 1); write(5);}
					else
					{setCursor(4, 0); print(" ");
						setCursor(4, 1); print(" ");
						setCursor(4, 2); write(5);}
			}
			  else if(mode==1){
					int f=0;
				 //if(needClear==1){clear(); needClear=0;}/*z add*/
					srand(s_rand);
				  for(int i=0;i<barriers1[step]+barriers2[step];i++){

						//srand(s_rand*200);
						int birthTime=rand()%20;
						srand(s_rand);
					  int x=rand()%4;
						srand(s_rand);
					 if(i<barriers1[step]) {
					   brr[step][i].type=1;
						 brr[step][i].x=x;
						 brr[step][i].y=19;
						 brr[step][i].timeToBirth=birthTime;
					 }
					 else {
						 brr[step][i].type=2;
						 brr[step][i].x=x;
						 brr[step][i].y=19;
						 brr[step][i].timeToBirth=birthTime;
					 }
						f++;
				 }

//				 for(int i=0;i<source_fuel_num[step];i++){
//					 //mesle barr ye doone arraye
//				 }
				 if(f>7)

				 {mode=2;}
				 counterMode2=0;

				//HAL_ADC_Start_IT(&hadc1);

				}
				  else if(mode==2){
					if(needClear==1){clear(); needClear=0;}/*z add*/
					if(counterMode2%(50*length)==0 && counterMode2!=0){
						  score += averageSpeed()*(step+1);
							speedSum = 0;
							adc_counter = 0;
							step++;
						 if (step==6) {mode=5; needClear=1;}
						 else{mode=1;}
						 if(plane1.planeSpeed ==0 && plane1.fuel == 0){

						 }
					}
					counterMode2++;
					time_counter++;
					if(counterMode2%50==0){
					 for(int i=0;i<barriers1[step]+barriers2[step];i++){
						 if( brr[step][i].timeToBirth== counterMode2/50 ){

								//new_barrier(brr[step][i]);
							      setCursor(brr[step][i].y,brr[step][i].x);
										write(brr[step][i].type);
										map[brr[step][i].y][brr[step][i].x] = -1*(brr[step][i].type);
							      //move(brr[step][i]);
						 }
				    }
					 for(int i=0;i<barriers1[step]+barriers2[step];i++){
						 //if(((time_counter*20) - (brr[step][i].timeToBirth * 1000))%time){
						 if(((time_counter*20) - (brr[step][i].timeToBirth * 1000))%time){
							 setCursor(brr[step][i].y,brr[step][i].x);
							 print(" ");
							 brr[step][i].y--;

							 setCursor(brr[step][i].y,brr[step][i].x);
							 write(brr[step][i].type);
								//move(brr[step][i]);
						 }
					 }
					 if(plane1.accident==1){
						 speed/= 2;
						 //plane1.planeSpeed
					 }
					 if(fuel.isExist == 1) {
						if((fuel.timeTobBirth - counterMode2 )%100 == 0){
							fuel.isExist =0;
						}
					 }
					 if(fuel.isExist == 0 ){
					   if(source_fuel_num[step] >= 1){
						   int r = rand()%10;
							 if(r<(8-step)){
							   fuel.y = rand()%19;
								 fuel.x = rand() % 4;
								 fuel.isExist = 1;
								 fuel.timeTobBirth = counterMode2;
								 source_fuel_num[step] --;
							 }
						 }
					 }
					}
				}

			  else if(mode==3){
				if(needClear==1){
			clear(); needClear=0;}
				setCursor(0, 1);
				print("Asiye Bahrami");
				setCursor(0, 2);
				print("Zahra Bazargani");
			}

			  else if(mode== -1){
				 setCursor(2, 1); print("Alien Fighter"); //HAL_Delay(10);
//				  __HAL_TIM_SET_COMPARE(&htim1, TIM_CHANNEL_1, 5000);
//					__HAL_TIM_SET_COMPARE(&htim1, TIM_CHANNEL_2, 5000);
//					__HAL_TIM_SET_COMPARE(&htim1, TIM_CHANNEL_3, 5000);
//					__HAL_TIM_SET_COMPARE(&htim8, TIM_CHANNEL_1, 5000);
//					__HAL_TIM_SET_COMPARE(&htim8, TIM_CHANNEL_2, 5000);
//					__HAL_TIM_SET_COMPARE(&htim8, TIM_CHANNEL_3, 5000);
				HAL_GPIO_TogglePin(GPIOE,GPIO_PIN_8|GPIO_PIN_9|GPIO_PIN_10|GPIO_PIN_11|GPIO_PIN_12|GPIO_PIN_13|GPIO_PIN_14|GPIO_PIN_15);
					HAL_Delay(50);
				 print4digit(8, 888);
				 enableSegment(0);
				 setCursor(2,1); print("                 ");// HAL_Delay(10);

//				  __HAL_TIM_SET_COMPARE(&htim2, TIM_CHANNEL_1, 0);
//					__HAL_TIM_SET_COMPARE(&htim2, TIM_CHANNEL_2, 0);
//					__HAL_TIM_SET_COMPARE(&htim2, TIM_CHANNEL_3, 0);
//					__HAL_TIM_SET_COMPARE(&htim2, TIM_CHANNEL_1, 0);
//					__HAL_TIM_SET_COMPARE(&htim2, TIM_CHANNEL_2, 0);
//					__HAL_TIM_SET_COMPARE(&htim2, TIM_CHANNEL_3, 0);
				HAL_GPIO_TogglePin(GPIOE,GPIO_PIN_8|GPIO_PIN_9|GPIO_PIN_10|GPIO_PIN_11|GPIO_PIN_12|GPIO_PIN_13|GPIO_PIN_14|GPIO_PIN_15);

					HAL_Delay(50);
				 print4digit(8, 888);
				 enableSegment(0);
			 }
				else if(mode==4){ //game over
					if(needClear==1){clear();}
					setCursor(5, 1); print("GAME OVER :(("); //HAL_Delay(10);
					char s[20]="";
					sprintf(s, "%d ", score);
					setCursor(5,2);
					print("score: ");
					print(s);
					setCursor(5,1);
					print("                 ");
					HAL_Delay(50);

				}
				else if(mode==5){ //game over
					if(needClear==1){clear();}
					setCursor(5, 1); print("YOU WON! *_*");
					char s[20]="";
					sprintf(s, "%d ", score);
					setCursor(5,2);
					print("score: ");
					print(s);
					setCursor(5,1);
          print("            ");
				  HAL_Delay(50);

				}

				else if(mode==7){ //save
					// flagID=1;
				}

}
	if(htim->Instance ==TIM2){
//		HAL_ADC_Start_IT(&hadc1);

//		print4digit(1,111);
	}

}

/* USER CODE END 0 */

int main(void)
{

  /* MCU Configuration----------------------------------------------------------*/

  /* Reset of all peripherals, Initializes the Flash interface and the Systick. */
  HAL_Init();

  /* Configure the system clock */
  SystemClock_Config();

  /* Initialize all configured peripherals */
  MX_GPIO_Init();
  MX_I2C1_Init();
  MX_SPI1_Init();
  MX_USB_PCD_Init();
  MX_ADC1_Init();
  MX_TIM1_Init();
  MX_TIM8_Init();
  MX_TIM3_Init();
  MX_TIM2_Init();
  MX_USART3_UART_Init();
  /* USER CODE BEGIN 2 */
	HAL_GPIO_WritePin(GPIOC, GPIO_PIN_0, 1);
	HAL_GPIO_WritePin(GPIOC, GPIO_PIN_1, 1);
	HAL_GPIO_WritePin(GPIOC, GPIO_PIN_2, 1);
	HAL_GPIO_WritePin(GPIOC, GPIO_PIN_3, 1);

	LiquidCrystal(GPIOD, GPIO_PIN_8, GPIO_PIN_9, GPIO_PIN_10, GPIO_PIN_11, GPIO_PIN_12, GPIO_PIN_13, GPIO_PIN_14);
	begin(20,4);

	createChar(1, barrier11);
	createChar(2, barrier22);
	createChar(3, airplanes);
	createChar(4, fuel_source);
	createChar(5, selected);
//	createChar(6,trapeze);
//	createChar(7,filled);
//	createChar(8,down_square);
//	createChar(9,up_square);

	mode=0;
	option=0;
//	HAL_TIM_PWM_Start(&htim1,TIM_CHANNEL_1);
//HAL_TIM_PWM_Start(&htim1,TIM_CHANNEL_2);
//HAL_TIM_PWM_Start(&htim1,TIM_CHANNEL_3);
//HAL_TIM_PWM_Start(&htim8,TIM_CHANNEL_3);
//HAL_TIM_PWM_Start(&htim8,TIM_CHANNEL_2);
//HAL_TIM_PWM_Start(&htim8,TIM_CHANNEL_1);

  HAL_ADC_Start_IT(&hadc1);
	HAL_TIM_Base_Start_IT(&htim3);
	HAL_TIM_Base_Start_IT(&htim2);

	HAL_TIM_Base_Start_IT(&htim1);
	HAL_TIM_Base_Start_IT(&htim8);
  /* USER CODE END 2 */

  /* Infinite loop */
  while (1)
  {

  }

}

void SystemClock_Config(void)
{

  RCC_OscInitTypeDef RCC_OscInitStruct;
  RCC_ClkInitTypeDef RCC_ClkInitStruct;
  RCC_PeriphCLKInitTypeDef PeriphClkInit;

    /**Initializes the CPU, AHB and APB busses clocks
    */
  RCC_OscInitStruct.OscillatorType = RCC_OSCILLATORTYPE_HSI|RCC_OSCILLATORTYPE_HSE;
  RCC_OscInitStruct.HSEState = RCC_HSE_BYPASS;
  RCC_OscInitStruct.HSEPredivValue = RCC_HSE_PREDIV_DIV1;
  RCC_OscInitStruct.HSIState = RCC_HSI_ON;
  RCC_OscInitStruct.HSICalibrationValue = 16;
  RCC_OscInitStruct.PLL.PLLState = RCC_PLL_ON;
  RCC_OscInitStruct.PLL.PLLSource = RCC_PLLSOURCE_HSE;
  RCC_OscInitStruct.PLL.PLLMUL = RCC_PLL_MUL9;
  if (HAL_RCC_OscConfig(&RCC_OscInitStruct) != HAL_OK)
  {
    _Error_Handler(__FILE__, __LINE__);
  }

    /**Initializes the CPU, AHB and APB busses clocks
    */
  RCC_ClkInitStruct.ClockType = RCC_CLOCKTYPE_HCLK|RCC_CLOCKTYPE_SYSCLK
                              |RCC_CLOCKTYPE_PCLK1|RCC_CLOCKTYPE_PCLK2;
  RCC_ClkInitStruct.SYSCLKSource = RCC_SYSCLKSOURCE_PLLCLK;
  RCC_ClkInitStruct.AHBCLKDivider = RCC_SYSCLK_DIV1;
  RCC_ClkInitStruct.APB1CLKDivider = RCC_HCLK_DIV2;
  RCC_ClkInitStruct.APB2CLKDivider = RCC_HCLK_DIV1;

  if (HAL_RCC_ClockConfig(&RCC_ClkInitStruct, FLASH_LATENCY_2) != HAL_OK)
  {
    _Error_Handler(__FILE__, __LINE__);
  }

  PeriphClkInit.PeriphClockSelection = RCC_PERIPHCLK_USB|RCC_PERIPHCLK_USART3
                              |RCC_PERIPHCLK_I2C1|RCC_PERIPHCLK_TIM1
                              |RCC_PERIPHCLK_TIM8|RCC_PERIPHCLK_ADC12;
  PeriphClkInit.Usart3ClockSelection = RCC_USART3CLKSOURCE_PCLK1;
  PeriphClkInit.Adc12ClockSelection = RCC_ADC12PLLCLK_DIV1;
  PeriphClkInit.I2c1ClockSelection = RCC_I2C1CLKSOURCE_HSI;
  PeriphClkInit.USBClockSelection = RCC_USBCLKSOURCE_PLL_DIV1_5;
  PeriphClkInit.Tim1ClockSelection = RCC_TIM1CLK_HCLK;
  PeriphClkInit.Tim8ClockSelection = RCC_TIM8CLK_HCLK;
  if (HAL_RCCEx_PeriphCLKConfig(&PeriphClkInit) != HAL_OK)
  {
    _Error_Handler(__FILE__, __LINE__);
  }

    /**Configure the Systick interrupt time
    */
  HAL_SYSTICK_Config(HAL_RCC_GetHCLKFreq()/1000);

    /**Configure the Systick
    */
  HAL_SYSTICK_CLKSourceConfig(SYSTICK_CLKSOURCE_HCLK);

  /* SysTick_IRQn interrupt configuration */
  HAL_NVIC_SetPriority(SysTick_IRQn, 0, 0);
}

/* ADC1 init function */
static void MX_ADC1_Init(void)
{

  ADC_MultiModeTypeDef multimode;
  ADC_ChannelConfTypeDef sConfig;

    /**Common config
    */
  hadc1.Instance = ADC1;
  hadc1.Init.ClockPrescaler = ADC_CLOCK_ASYNC_DIV1;
  hadc1.Init.Resolution = ADC_RESOLUTION_6B;
  hadc1.Init.ScanConvMode = ADC_SCAN_DISABLE;
  hadc1.Init.ContinuousConvMode = DISABLE;
  hadc1.Init.DiscontinuousConvMode = DISABLE;
  hadc1.Init.ExternalTrigConvEdge = ADC_EXTERNALTRIGCONVEDGE_NONE;
  hadc1.Init.ExternalTrigConv = ADC_SOFTWARE_START;
  hadc1.Init.DataAlign = ADC_DATAALIGN_RIGHT;
  hadc1.Init.NbrOfConversion = 1;
  hadc1.Init.DMAContinuousRequests = DISABLE;
  hadc1.Init.EOCSelection = ADC_EOC_SINGLE_CONV;
  hadc1.Init.LowPowerAutoWait = DISABLE;
  hadc1.Init.Overrun = ADC_OVR_DATA_OVERWRITTEN;
  if (HAL_ADC_Init(&hadc1) != HAL_OK)
  {
    _Error_Handler(__FILE__, __LINE__);
  }

    /**Configure the ADC multi-mode
    */
  multimode.Mode = ADC_MODE_INDEPENDENT;
  if (HAL_ADCEx_MultiModeConfigChannel(&hadc1, &multimode) != HAL_OK)
  {
    _Error_Handler(__FILE__, __LINE__);
  }

    /**Configure Regular Channel
    */
  sConfig.Channel = ADC_CHANNEL_2;
  sConfig.Rank = ADC_REGULAR_RANK_1;
  sConfig.SingleDiff = ADC_SINGLE_ENDED;
  sConfig.SamplingTime = ADC_SAMPLETIME_601CYCLES_5;
  sConfig.OffsetNumber = ADC_OFFSET_NONE;
  sConfig.Offset = 0;
  if (HAL_ADC_ConfigChannel(&hadc1, &sConfig) != HAL_OK)
  {
    _Error_Handler(__FILE__, __LINE__);
  }

}

/* I2C1 init function */
static void MX_I2C1_Init(void)
{

  hi2c1.Instance = I2C1;
  hi2c1.Init.Timing = 0x2000090E;
  hi2c1.Init.OwnAddress1 = 0;
  hi2c1.Init.AddressingMode = I2C_ADDRESSINGMODE_7BIT;
  hi2c1.Init.DualAddressMode = I2C_DUALADDRESS_DISABLE;
  hi2c1.Init.OwnAddress2 = 0;
  hi2c1.Init.OwnAddress2Masks = I2C_OA2_NOMASK;
  hi2c1.Init.GeneralCallMode = I2C_GENERALCALL_DISABLE;
  hi2c1.Init.NoStretchMode = I2C_NOSTRETCH_DISABLE;
  if (HAL_I2C_Init(&hi2c1) != HAL_OK)
  {
    _Error_Handler(__FILE__, __LINE__);
  }

    /**Configure Analogue filter
    */
  if (HAL_I2CEx_ConfigAnalogFilter(&hi2c1, I2C_ANALOGFILTER_ENABLE) != HAL_OK)
  {
    _Error_Handler(__FILE__, __LINE__);
  }

    /**Configure Digital filter
    */
  if (HAL_I2CEx_ConfigDigitalFilter(&hi2c1, 0) != HAL_OK)
  {
    _Error_Handler(__FILE__, __LINE__);
  }

}

/* SPI1 init function */
static void MX_SPI1_Init(void)
{

  /* SPI1 parameter configuration*/
  hspi1.Instance = SPI1;
  hspi1.Init.Mode = SPI_MODE_MASTER;
  hspi1.Init.Direction = SPI_DIRECTION_2LINES;
  hspi1.Init.DataSize = SPI_DATASIZE_4BIT;
  hspi1.Init.CLKPolarity = SPI_POLARITY_LOW;
  hspi1.Init.CLKPhase = SPI_PHASE_1EDGE;
  hspi1.Init.NSS = SPI_NSS_SOFT;
  hspi1.Init.BaudRatePrescaler = SPI_BAUDRATEPRESCALER_4;
  hspi1.Init.FirstBit = SPI_FIRSTBIT_MSB;
  hspi1.Init.TIMode = SPI_TIMODE_DISABLE;
  hspi1.Init.CRCCalculation = SPI_CRCCALCULATION_DISABLE;
  hspi1.Init.CRCPolynomial = 7;
  hspi1.Init.CRCLength = SPI_CRC_LENGTH_DATASIZE;
  hspi1.Init.NSSPMode = SPI_NSS_PULSE_ENABLE;
  if (HAL_SPI_Init(&hspi1) != HAL_OK)
  {
    _Error_Handler(__FILE__, __LINE__);
  }

}

/* TIM1 init function */
static void MX_TIM1_Init(void)
{

  TIM_ClockConfigTypeDef sClockSourceConfig;
  TIM_MasterConfigTypeDef sMasterConfig;
  TIM_OC_InitTypeDef sConfigOC;
  TIM_BreakDeadTimeConfigTypeDef sBreakDeadTimeConfig;

  htim1.Instance = TIM1;
  htim1.Init.Prescaler = 72;
  htim1.Init.CounterMode = TIM_COUNTERMODE_UP;
  htim1.Init.Period = 99;
  htim1.Init.ClockDivision = TIM_CLOCKDIVISION_DIV1;
  htim1.Init.RepetitionCounter = 0;
  htim1.Init.AutoReloadPreload = TIM_AUTORELOAD_PRELOAD_DISABLE;
  if (HAL_TIM_Base_Init(&htim1) != HAL_OK)
  {
    _Error_Handler(__FILE__, __LINE__);
  }

  sClockSourceConfig.ClockSource = TIM_CLOCKSOURCE_INTERNAL;
  if (HAL_TIM_ConfigClockSource(&htim1, &sClockSourceConfig) != HAL_OK)
  {
    _Error_Handler(__FILE__, __LINE__);
  }

  if (HAL_TIM_PWM_Init(&htim1) != HAL_OK)
  {
    _Error_Handler(__FILE__, __LINE__);
  }

  sMasterConfig.MasterOutputTrigger = TIM_TRGO_RESET;
  sMasterConfig.MasterOutputTrigger2 = TIM_TRGO2_RESET;
  sMasterConfig.MasterSlaveMode = TIM_MASTERSLAVEMODE_DISABLE;
  if (HAL_TIMEx_MasterConfigSynchronization(&htim1, &sMasterConfig) != HAL_OK)
  {
    _Error_Handler(__FILE__, __LINE__);
  }

  sConfigOC.OCMode = TIM_OCMODE_PWM1;
  sConfigOC.Pulse = 0;
  sConfigOC.OCPolarity = TIM_OCPOLARITY_HIGH;
  sConfigOC.OCNPolarity = TIM_OCNPOLARITY_HIGH;
  sConfigOC.OCFastMode = TIM_OCFAST_DISABLE;
  sConfigOC.OCIdleState = TIM_OCIDLESTATE_RESET;
  sConfigOC.OCNIdleState = TIM_OCNIDLESTATE_RESET;
  if (HAL_TIM_PWM_ConfigChannel(&htim1, &sConfigOC, TIM_CHANNEL_1) != HAL_OK)
  {
    _Error_Handler(__FILE__, __LINE__);
  }

  if (HAL_TIM_PWM_ConfigChannel(&htim1, &sConfigOC, TIM_CHANNEL_2) != HAL_OK)
  {
    _Error_Handler(__FILE__, __LINE__);
  }

  if (HAL_TIM_PWM_ConfigChannel(&htim1, &sConfigOC, TIM_CHANNEL_3) != HAL_OK)
  {
    _Error_Handler(__FILE__, __LINE__);
  }

  sBreakDeadTimeConfig.OffStateRunMode = TIM_OSSR_DISABLE;
  sBreakDeadTimeConfig.OffStateIDLEMode = TIM_OSSI_DISABLE;
  sBreakDeadTimeConfig.LockLevel = TIM_LOCKLEVEL_OFF;
  sBreakDeadTimeConfig.DeadTime = 0;
  sBreakDeadTimeConfig.BreakState = TIM_BREAK_DISABLE;
  sBreakDeadTimeConfig.BreakPolarity = TIM_BREAKPOLARITY_HIGH;
  sBreakDeadTimeConfig.BreakFilter = 0;
  sBreakDeadTimeConfig.Break2State = TIM_BREAK2_DISABLE;
  sBreakDeadTimeConfig.Break2Polarity = TIM_BREAK2POLARITY_HIGH;
  sBreakDeadTimeConfig.Break2Filter = 0;
  sBreakDeadTimeConfig.AutomaticOutput = TIM_AUTOMATICOUTPUT_DISABLE;
  if (HAL_TIMEx_ConfigBreakDeadTime(&htim1, &sBreakDeadTimeConfig) != HAL_OK)
  {
    _Error_Handler(__FILE__, __LINE__);
  }

  HAL_TIM_MspPostInit(&htim1);

}

/* TIM2 init function */
static void MX_TIM2_Init(void)
{

  TIM_ClockConfigTypeDef sClockSourceConfig;
  TIM_MasterConfigTypeDef sMasterConfig;

  htim2.Instance = TIM2;
  htim2.Init.Prescaler = 60;
  htim2.Init.CounterMode = TIM_COUNTERMODE_UP;
  htim2.Init.Period = 600;
  htim2.Init.ClockDivision = TIM_CLOCKDIVISION_DIV1;
  htim2.Init.AutoReloadPreload = TIM_AUTORELOAD_PRELOAD_DISABLE;
  if (HAL_TIM_Base_Init(&htim2) != HAL_OK)
  {
    _Error_Handler(__FILE__, __LINE__);
  }

  sClockSourceConfig.ClockSource = TIM_CLOCKSOURCE_INTERNAL;
  if (HAL_TIM_ConfigClockSource(&htim2, &sClockSourceConfig) != HAL_OK)
  {
    _Error_Handler(__FILE__, __LINE__);
  }

  sMasterConfig.MasterOutputTrigger = TIM_TRGO_RESET;
  sMasterConfig.MasterSlaveMode = TIM_MASTERSLAVEMODE_DISABLE;
  if (HAL_TIMEx_MasterConfigSynchronization(&htim2, &sMasterConfig) != HAL_OK)
  {
    _Error_Handler(__FILE__, __LINE__);
  }

}

/* TIM3 init function */
static void MX_TIM3_Init(void)
{

  TIM_ClockConfigTypeDef sClockSourceConfig;
  TIM_MasterConfigTypeDef sMasterConfig;

  htim3.Instance = TIM3;
  htim3.Init.Prescaler = 1200;
  htim3.Init.CounterMode = TIM_COUNTERMODE_UP;
  htim3.Init.Period = 1200;
  htim3.Init.ClockDivision = TIM_CLOCKDIVISION_DIV1;
  htim3.Init.AutoReloadPreload = TIM_AUTORELOAD_PRELOAD_DISABLE;
  if (HAL_TIM_Base_Init(&htim3) != HAL_OK)
  {
    _Error_Handler(__FILE__, __LINE__);
  }

  sClockSourceConfig.ClockSource = TIM_CLOCKSOURCE_INTERNAL;
  if (HAL_TIM_ConfigClockSource(&htim3, &sClockSourceConfig) != HAL_OK)
  {
    _Error_Handler(__FILE__, __LINE__);
  }

  sMasterConfig.MasterOutputTrigger = TIM_TRGO_RESET;
  sMasterConfig.MasterSlaveMode = TIM_MASTERSLAVEMODE_DISABLE;
  if (HAL_TIMEx_MasterConfigSynchronization(&htim3, &sMasterConfig) != HAL_OK)
  {
    _Error_Handler(__FILE__, __LINE__);
  }

}

/* TIM8 init function */
static void MX_TIM8_Init(void)
{

  TIM_ClockConfigTypeDef sClockSourceConfig;
  TIM_MasterConfigTypeDef sMasterConfig;
  TIM_OC_InitTypeDef sConfigOC;
  TIM_BreakDeadTimeConfigTypeDef sBreakDeadTimeConfig;

  htim8.Instance = TIM8;
  htim8.Init.Prescaler = 72;
  htim8.Init.CounterMode = TIM_COUNTERMODE_UP;
  htim8.Init.Period = 99;
  htim8.Init.ClockDivision = TIM_CLOCKDIVISION_DIV1;
  htim8.Init.RepetitionCounter = 0;
  htim8.Init.AutoReloadPreload = TIM_AUTORELOAD_PRELOAD_DISABLE;
  if (HAL_TIM_Base_Init(&htim8) != HAL_OK)
  {
    _Error_Handler(__FILE__, __LINE__);
  }

  sClockSourceConfig.ClockSource = TIM_CLOCKSOURCE_INTERNAL;
  if (HAL_TIM_ConfigClockSource(&htim8, &sClockSourceConfig) != HAL_OK)
  {
    _Error_Handler(__FILE__, __LINE__);
  }

  if (HAL_TIM_PWM_Init(&htim8) != HAL_OK)
  {
    _Error_Handler(__FILE__, __LINE__);
  }

  sMasterConfig.MasterOutputTrigger = TIM_TRGO_RESET;
  sMasterConfig.MasterOutputTrigger2 = TIM_TRGO2_RESET;
  sMasterConfig.MasterSlaveMode = TIM_MASTERSLAVEMODE_DISABLE;
  if (HAL_TIMEx_MasterConfigSynchronization(&htim8, &sMasterConfig) != HAL_OK)
  {
    _Error_Handler(__FILE__, __LINE__);
  }

  sConfigOC.OCMode = TIM_OCMODE_PWM1;
  sConfigOC.Pulse = 0;
  sConfigOC.OCPolarity = TIM_OCPOLARITY_HIGH;
  sConfigOC.OCNPolarity = TIM_OCNPOLARITY_HIGH;
  sConfigOC.OCFastMode = TIM_OCFAST_DISABLE;
  sConfigOC.OCIdleState = TIM_OCIDLESTATE_RESET;
  sConfigOC.OCNIdleState = TIM_OCNIDLESTATE_RESET;
  if (HAL_TIM_PWM_ConfigChannel(&htim8, &sConfigOC, TIM_CHANNEL_1) != HAL_OK)
  {
    _Error_Handler(__FILE__, __LINE__);
  }

  if (HAL_TIM_PWM_ConfigChannel(&htim8, &sConfigOC, TIM_CHANNEL_2) != HAL_OK)
  {
    _Error_Handler(__FILE__, __LINE__);
  }

  if (HAL_TIM_PWM_ConfigChannel(&htim8, &sConfigOC, TIM_CHANNEL_3) != HAL_OK)
  {
    _Error_Handler(__FILE__, __LINE__);
  }

  sBreakDeadTimeConfig.OffStateRunMode = TIM_OSSR_DISABLE;
  sBreakDeadTimeConfig.OffStateIDLEMode = TIM_OSSI_DISABLE;
  sBreakDeadTimeConfig.LockLevel = TIM_LOCKLEVEL_OFF;
  sBreakDeadTimeConfig.DeadTime = 0;
  sBreakDeadTimeConfig.BreakState = TIM_BREAK_DISABLE;
  sBreakDeadTimeConfig.BreakPolarity = TIM_BREAKPOLARITY_HIGH;
  sBreakDeadTimeConfig.BreakFilter = 0;
  sBreakDeadTimeConfig.Break2State = TIM_BREAK2_DISABLE;
  sBreakDeadTimeConfig.Break2Polarity = TIM_BREAK2POLARITY_HIGH;
  sBreakDeadTimeConfig.Break2Filter = 0;
  sBreakDeadTimeConfig.AutomaticOutput = TIM_AUTOMATICOUTPUT_DISABLE;
  if (HAL_TIMEx_ConfigBreakDeadTime(&htim8, &sBreakDeadTimeConfig) != HAL_OK)
  {
    _Error_Handler(__FILE__, __LINE__);
  }

  HAL_TIM_MspPostInit(&htim8);

}

/* USART3 init function */
static void MX_USART3_UART_Init(void)
{

  huart3.Instance = USART3;
  huart3.Init.BaudRate = 9600;
  huart3.Init.WordLength = UART_WORDLENGTH_8B;
  huart3.Init.StopBits = UART_STOPBITS_1;
  huart3.Init.Parity = UART_PARITY_NONE;
  huart3.Init.Mode = UART_MODE_TX_RX;
  huart3.Init.HwFlowCtl = UART_HWCONTROL_NONE;
  huart3.Init.OverSampling = UART_OVERSAMPLING_16;
  huart3.Init.OneBitSampling = UART_ONE_BIT_SAMPLE_DISABLE;
  huart3.AdvancedInit.AdvFeatureInit = UART_ADVFEATURE_NO_INIT;
  if (HAL_UART_Init(&huart3) != HAL_OK)
  {
    _Error_Handler(__FILE__, __LINE__);
  }

}

/* USB init function */
static void MX_USB_PCD_Init(void)
{

  hpcd_USB_FS.Instance = USB;
  hpcd_USB_FS.Init.dev_endpoints = 8;
  hpcd_USB_FS.Init.speed = PCD_SPEED_FULL;
  hpcd_USB_FS.Init.ep0_mps = DEP0CTL_MPS_64;
  hpcd_USB_FS.Init.phy_itface = PCD_PHY_EMBEDDED;
  hpcd_USB_FS.Init.low_power_enable = DISABLE;
  hpcd_USB_FS.Init.battery_charging_enable = DISABLE;
  if (HAL_PCD_Init(&hpcd_USB_FS) != HAL_OK)
  {
    _Error_Handler(__FILE__, __LINE__);
  }

}

/** Configure pins as
        * Analog
        * Input
        * Output
        * EVENT_OUT
        * EXTI
*/
static void MX_GPIO_Init(void)
{

  GPIO_InitTypeDef GPIO_InitStruct;

  /* GPIO Ports Clock Enable */
  __HAL_RCC_GPIOE_CLK_ENABLE();
  __HAL_RCC_GPIOC_CLK_ENABLE();
  __HAL_RCC_GPIOF_CLK_ENABLE();
  __HAL_RCC_GPIOA_CLK_ENABLE();
  __HAL_RCC_GPIOB_CLK_ENABLE();
  __HAL_RCC_GPIOD_CLK_ENABLE();

  /*Configure GPIO pin Output Level */
  HAL_GPIO_WritePin(GPIOE, CS_I2C_SPI_Pin|LD4_Pin|LD3_Pin|LD5_Pin
                          |LD7_Pin|LD9_Pin|LD10_Pin|LD8_Pin
                          |LD6_Pin, GPIO_PIN_RESET);

  /*Configure GPIO pin Output Level */
  HAL_GPIO_WritePin(GPIOC, GPIO_PIN_0|GPIO_PIN_1|GPIO_PIN_2|GPIO_PIN_3, GPIO_PIN_RESET);

  /*Configure GPIO pin Output Level */
  HAL_GPIO_WritePin(GPIOB, GPIO_PIN_0|GPIO_PIN_1|GPIO_PIN_2|GPIO_PIN_4, GPIO_PIN_RESET);

  /*Configure GPIO pin Output Level */
  HAL_GPIO_WritePin(GPIOD, GPIO_PIN_1|GPIO_PIN_2|GPIO_PIN_3|GPIO_PIN_4
                          |GPIO_PIN_5, GPIO_PIN_RESET);

  /*Configure GPIO pins : DRDY_Pin MEMS_INT3_Pin MEMS_INT4_Pin MEMS_INT2_Pin */
  GPIO_InitStruct.Pin = DRDY_Pin|MEMS_INT3_Pin|MEMS_INT4_Pin|MEMS_INT2_Pin;
  GPIO_InitStruct.Mode = GPIO_MODE_EVT_RISING;
  GPIO_InitStruct.Pull = GPIO_NOPULL;
  HAL_GPIO_Init(GPIOE, &GPIO_InitStruct);

  /*Configure GPIO pins : CS_I2C_SPI_Pin LD4_Pin LD3_Pin LD5_Pin
                           LD7_Pin LD9_Pin LD10_Pin LD8_Pin
                           LD6_Pin */
  GPIO_InitStruct.Pin = CS_I2C_SPI_Pin|LD4_Pin|LD3_Pin|LD5_Pin
                          |LD7_Pin|LD9_Pin|LD10_Pin|LD8_Pin
                          |LD6_Pin;
  GPIO_InitStruct.Mode = GPIO_MODE_OUTPUT_PP;
  GPIO_InitStruct.Pull = GPIO_NOPULL;
  GPIO_InitStruct.Speed = GPIO_SPEED_FREQ_LOW;
  HAL_GPIO_Init(GPIOE, &GPIO_InitStruct);

  /*Configure GPIO pins : PC0 PC1 PC2 PC3 */
  GPIO_InitStruct.Pin = GPIO_PIN_0|GPIO_PIN_1|GPIO_PIN_2|GPIO_PIN_3;
  GPIO_InitStruct.Mode = GPIO_MODE_OUTPUT_PP;
  GPIO_InitStruct.Pull = GPIO_NOPULL;
  GPIO_InitStruct.Speed = GPIO_SPEED_FREQ_LOW;
  HAL_GPIO_Init(GPIOC, &GPIO_InitStruct);

  /*Configure GPIO pin : PA0 */
  GPIO_InitStruct.Pin = GPIO_PIN_0;
  GPIO_InitStruct.Mode = GPIO_MODE_IT_RISING;
  GPIO_InitStruct.Pull = GPIO_PULLDOWN;
  HAL_GPIO_Init(GPIOA, &GPIO_InitStruct);

  /*Configure GPIO pins : PB0 PB1 PB2 PB4 */
  GPIO_InitStruct.Pin = GPIO_PIN_0|GPIO_PIN_1|GPIO_PIN_2|GPIO_PIN_4;
  GPIO_InitStruct.Mode = GPIO_MODE_OUTPUT_PP;
  GPIO_InitStruct.Pull = GPIO_NOPULL;
  GPIO_InitStruct.Speed = GPIO_SPEED_FREQ_LOW;
  HAL_GPIO_Init(GPIOB, &GPIO_InitStruct);

  /*Configure GPIO pins : PC6 PC7 PC8 PC9
                           PC11 PC12 */
  GPIO_InitStruct.Pin = GPIO_PIN_6|GPIO_PIN_7|GPIO_PIN_8|GPIO_PIN_9
                          |GPIO_PIN_11|GPIO_PIN_12;
  GPIO_InitStruct.Mode = GPIO_MODE_IT_RISING;
  GPIO_InitStruct.Pull = GPIO_PULLDOWN;
  HAL_GPIO_Init(GPIOC, &GPIO_InitStruct);

  /*Configure GPIO pins : PD1 PD2 PD3 PD4
                           PD5 */
  GPIO_InitStruct.Pin = GPIO_PIN_1|GPIO_PIN_2|GPIO_PIN_3|GPIO_PIN_4
                          |GPIO_PIN_5;
  GPIO_InitStruct.Mode = GPIO_MODE_OUTPUT_PP;
  GPIO_InitStruct.Pull = GPIO_NOPULL;
  GPIO_InitStruct.Speed = GPIO_SPEED_FREQ_LOW;
  HAL_GPIO_Init(GPIOD, &GPIO_InitStruct);

  /* EXTI interrupt init*/
  HAL_NVIC_SetPriority(EXTI0_IRQn, 1, 0);
  HAL_NVIC_EnableIRQ(EXTI0_IRQn);

  HAL_NVIC_SetPriority(EXTI9_5_IRQn, 1, 0);
  HAL_NVIC_EnableIRQ(EXTI9_5_IRQn);

  HAL_NVIC_SetPriority(EXTI15_10_IRQn, 1, 0);
  HAL_NVIC_EnableIRQ(EXTI15_10_IRQn);

}

void _Error_Handler(char *file, int line)
{
  while(1)
  {
  }
}

/************************ (C) COPYRIGHT STMicroelectronics *****END OF FILE****/
